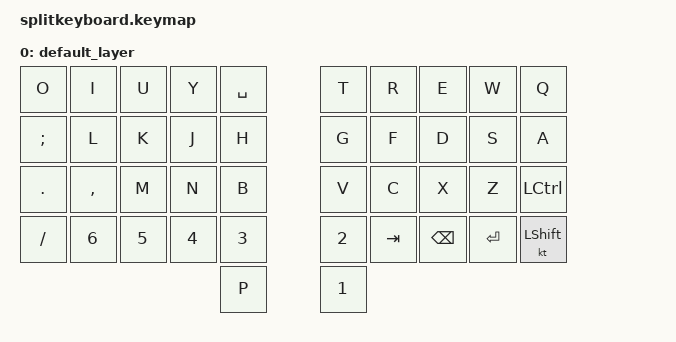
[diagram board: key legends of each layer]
#include <behaviors.dtsi>
#include <dt-bindings/zmk/keys.h>

/ {
    keymap {
        compatible = "zmk,keymap";

        default_layer {
            bindings = <
&kp O          &kp I         &kp U   &kp Y         &kp SPACE     &kp T         &kp R    &kp E      &kp W         &kp Q
&kp SEMICOLON  &kp L         &kp K   &kp J         &kp H         &kp G         &kp F    &kp D      &kp S         &kp A
&kp PERIOD     &kp COMMA     &kp M   &kp N         &kp B         &kp V         &kp C    &kp X      &kp Z         &kp LCTRL
&kp SLASH      &kp NUMBER_6  &kp N5  &kp NUMBER_4  &kp NUMBER_3  &kp NUMBER_2  &kp TAB  &kp BSPC   &kp ENTER     &kt LEFT_SHIFT
&kp P                                                                                                            &kp NUMBER_1
            >;
        };
    };
};
